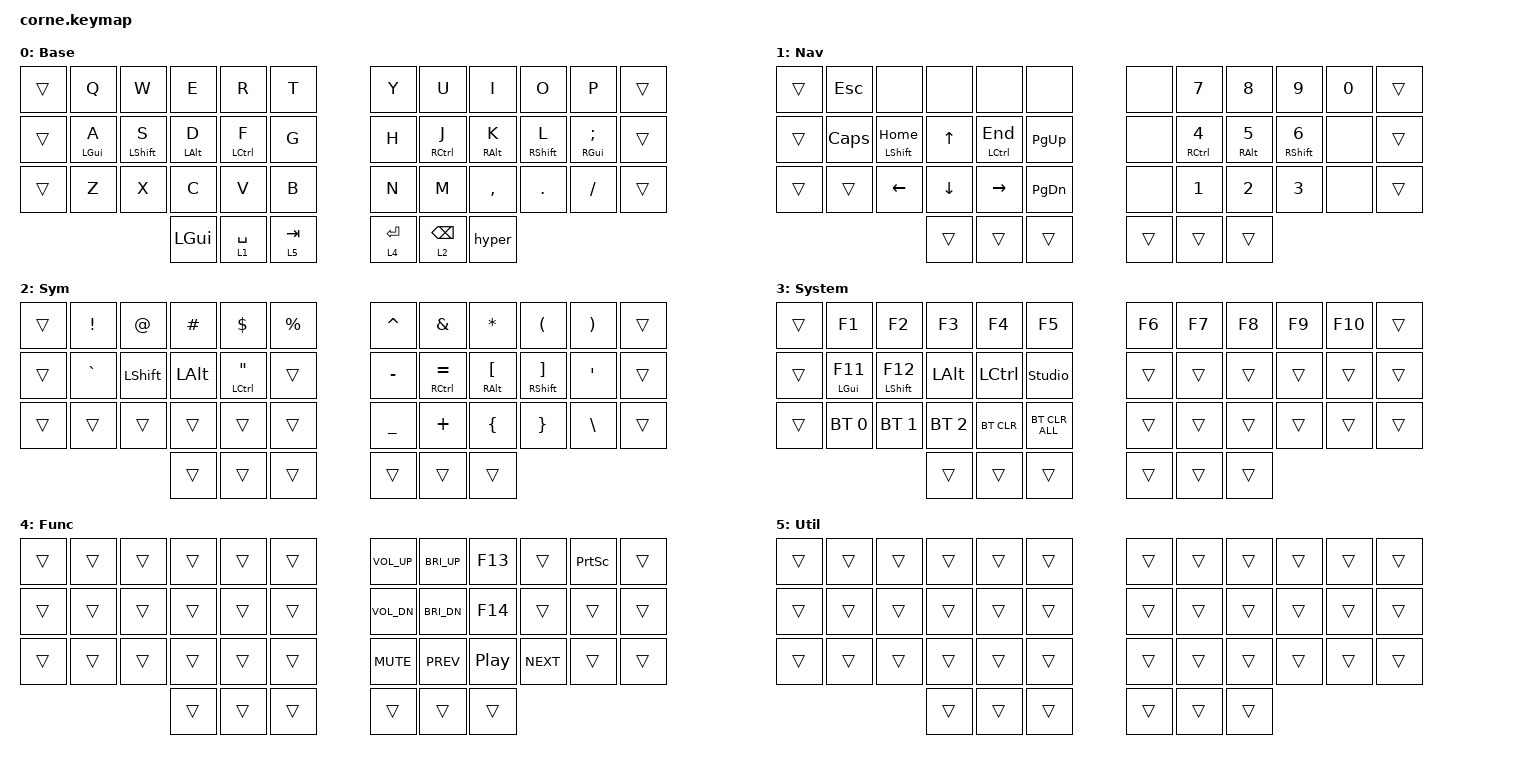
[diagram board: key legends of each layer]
#include <behaviors.dtsi>
#include <dt-bindings/zmk/bt.h>
#include <dt-bindings/zmk/keys.h>

#define BASE 0
#define NAV 1
#define SYM 2
#define SYSTEM 3
#define FUNC 4
#define UTIL 5


/ {
    behaviors {
        hm: homerow_mods {
            compatible = "zmk,behavior-hold-tap";
            label = "HOMEROW_MODS";
            #binding-cells = <2>;
            tapping-term-ms = <200>;
            quick-tap-ms = <180>;
            flavor = "tap-preferred";
            bindings = <&kp>, <&kp>;
            global-quick-tap;
        };

        para: para {
            compatible = "zmk,behavior-tap-dance";
            label = "PARA";
            #binding-cells = <0>;
            bindings = <&kp LEFT_PARENTHESIS>, <&kp RIGHT_PARENTHESIS>;
        };

        caps: caps {
            compatible = "zmk,behavior-caps-word";
            label = "CAPS";
            #binding-cells = <0>;
            continue-list = <MINUS BACKSPACE>;
        };

        paraless: paraless {
            compatible = "zmk,behavior-mod-morph";
            label = "PARALESS";
            bindings = <&kp LEFT_PARENTHESIS>, <&kp LESS_THAN>;

            #binding-cells = <0>;
            mods = <(MOD_LSFT)>;
        };

        paragreat: paragreat {
            compatible = "zmk,behavior-mod-morph";
            label = "PARAGREAT";
            bindings = <&kp RIGHT_PARENTHESIS>, <&kp GREATER_THAN>;

            #binding-cells = <0>;
            mods = <(MOD_LSFT)>;
        };
    };

    macros {
        hyper: hyper {
            compatible = "zmk,behavior-macro";
            label = "HYPER";
            #binding-cells = <0>;
            bindings = <&macro_press &kp LCTRL &kp LSHIFT &kp LALT &kp LGUI>
                     , <&macro_pause_for_release>
                     , <&macro_release &kp LCTRL &kp LSHIFT &kp LALT &kp LGUI>;
        };
    };

    keymap {
        compatible = "zmk,keymap";

        BASE {
                display-name = "Base";
                // ------------------------------------------------------------------
                // |  Q  |  W  |  E  |  R  |  T  |   |  Y  |  U   |  I  |  O  |  P  |
                // | GUI | SFT | ALT | CTL |  G  |   |  H  | CTL  | ALT | SFT | GUI |
                // |  A  |  S  |  D  |  F  |     |   |     |  J   |  K  |  L  |  ;  |
                // |  Z  |  X  |  C  |  V  |  B  |   |  N  |  M   |  ,  |  .  |  /  |
                //             | GUI | SPC | TAB |   | RET | BSPC | HYP |
                //                   | L1  | L4  |   | L5  |  L2  |     |
                // ------------------------------------------------------------------

                bindings = <
                    &trans  &kp Q       &kp W        &kp E       &kp R        &kp T                     &kp Y      &kp U            &kp I            &kp O        &kp P          &trans
                    &trans  &hm LGUI A  &hm LSHFT S  &hm LALT D  &hm LCTRL F  &kp G                     &kp H      &hm RCTRL J      &hm RALT K       &hm RSHFT L  &hm RGUI SEMI  &trans
                    &trans  &kp Z       &kp X        &kp C       &kp V        &kp B                     &kp N      &kp M            &kp COMMA        &kp DOT      &kp FSLH       &trans
                                                     &kp LGUI    &lt 1 SPACE  &lt 5 TAB                 &lt 4 RET  &lt 2 BACKSPACE  &hyper
                >;
        };

        NAV {
                display-name = "Nav";
                // -----------------------------------------------------------------
                // | ESC |     |     |     |     |   |     |  7  |  8  |  9  |  0  |
                // | CAP | SFT | UP  | CTL | PGU |   |     | CTL | ALT | SFT |     |
                // |     | HOM |     | END |     |   |     |  4  |  5  |  6  |     |
                // |     | LFT | DWN | RGT | PGD |   |     |  1  |  2  |  3  |     |
                //             |     |     |     |   |     |     |     |
                // -----------------------------------------------------------------

                bindings = <
                    &trans  &kp ESCAPE    &none           &none         &none            &none                          &none   &kp N7        &kp N8       &kp N9        &kp N0  &trans
                    &trans  &kp CAPSLOCK  &hm LSHFT HOME  &kp UP_ARROW  &hm LCTRL END    &kp PAGE_UP                    &none   &hm RCTRL N4  &hm RALT N5  &hm RSHFT N6  &none   &trans
                    &trans  &trans        &kp LEFT        &kp DOWN      &kp RIGHT_ARROW  &kp PAGE_DOWN                  &none   &kp N1        &kp N2       &kp N3        &none   &trans
                                                          &trans        &trans           &trans                         &trans  &trans        &trans
                >;
        };

        SYM {
                display-name = "Sym";
                // -----------------------------------------------------------------
                // |  !  |  @  |  #  |  $  |  %  |   |  ^  |  &  |  *  |  (  |  )  |
                // |  `  | SFT | ALT | CTL |     |   |  -  | CTL | ALT | SFT |  '  |
                // |     |     |     |  "  |     |   |     |  =  |  [  |  ]  |     |
                // |     |     |     |     |     |   |  _  |  +  |  {  |  }  |  \  |
                //             |     |     |     |   |     |     |     |
                // -----------------------------------------------------------------

                bindings = <
                    &trans  &kp EXCL   &kp AT     &kp HASH   &kp DLLR       &kp PRCNT                 &kp CARET  &kp AMPS           &kp ASTRK      &kp LPAR        &kp RPAR  &trans
                    &trans  &kp GRAVE  &kp LSHFT  &kp LALT   &hm LCTRL DQT  &trans                    &kp MINUS  &hm RCTRL EQUAL    &hm RALT LBKT  &hm RSHFT RBKT  &kp SQT   &trans
                    &trans  &trans     &trans     &trans     &trans         &trans                    &kp UNDER  &kp PLUS           &kp LBRC       &kp RBRC        &kp BSLH  &trans
                                                  &trans     &trans         &trans                    &trans     &trans             &trans
                >;
        };

        SYSTEM {
                display-name = "System";
                // -----------------------------------------------------------------
                // | F1  | F2  | F3  | F4  | F5  |   | F6  | F7  | F8  | F9  | F10 |
                // | F11 | F12 | ALT | CTL | STU |   |     |     |     |     |     |
                // | GUI | SFT |     |     | DIO |   |     |     |     |     |     |
                // | BT0 | BT1 | BT2 | CLR | ALL |   |     |     |     |     |     |
                //             |     |     |     |   |     |     |     |
                // -----------------------------------------------------------------

                bindings = <
                    &trans  &kp F1        &kp F2         &kp F3        &kp F4      &kp F5                           &kp F6  &kp F7  &kp F8  &kp F9  &kp F10 &trans
                    &trans  &hm LGUI F11  &hm LSHFT F12  &kp LALT      &kp LCTRL   &studio_unlock                   &trans  &trans  &trans  &trans  &trans  &trans
                    &trans  &bt BT_SEL 0  &bt BT_SEL 1   &bt BT_SEL 2  &bt BT_CLR  &bt BT_CLR_ALL                   &trans  &trans  &trans  &trans  &trans  &trans
                                                         &trans        &trans      &trans                           &trans  &trans  &trans
                >;
        };

        FUNC {
                display-name = "Func";
                // -----------------------------------------------------------------
                // |     |     |     |     |     |   | V+  | B+  | F13 |     | PSC |
                // |     |     |     |     |     |   | V-  | B-  | F14 |     |     |
                // |     |     |     |     |     |   | MUT | PRV | P/P | NXT |     |
                //             |     |     |     |   |     |     |     |
                // -----------------------------------------------------------------
                bindings = < 
                    &trans  &trans  &trans  &trans  &trans  &trans                  &kp C_VOL_UP  &kp C_BRI_UP  &kp F13   &trans      &kp PSCRN  &trans
                    &trans  &trans  &trans  &trans  &trans  &trans                  &kp C_VOL_DN  &kp C_BRI_DN  &kp F14   &trans      &trans  &trans
                    &trans  &trans  &trans  &trans  &trans  &trans                  &kp C_MUTE    &kp C_PREV    &kp C_PP  &kp C_NEXT  &trans  &trans
                                            &trans  &trans  &trans                  &trans  &trans  &trans
                >;
            };


        UTIL {
                display-name = "Util";
                // -----------------------------------------------------------------
                // |     |     |     |     |     |   |     |     |     |     |     |
                // |     |     |     |     |     |   |     |     |     |     |     |
                // |     |     |     |     |     |   |     |     |     |     |     |
                //             |     |     |     |   |     |     |     |
                // -----------------------------------------------------------------
                bindings = < 
                    &trans  &trans  &trans  &trans  &trans  &trans                  &trans  &trans  &trans  &trans  &trans  &trans
                    &trans  &trans  &trans  &trans  &trans  &trans                  &trans  &trans  &trans  &trans  &trans  &trans
                    &trans  &trans  &trans  &trans  &trans  &trans                  &trans  &trans  &trans  &trans  &trans  &trans
                                            &trans  &trans  &trans                  &trans  &trans  &trans
                >;
            };
    };

    // if layer NAV and SYM pressed together then we get SYSTEM
    conditional_layers {
        compatible = "zmk,conditional-layers";

        l3 {
            if-layers = <1 2>;
            then-layer = <3>;
        };
    };
};
